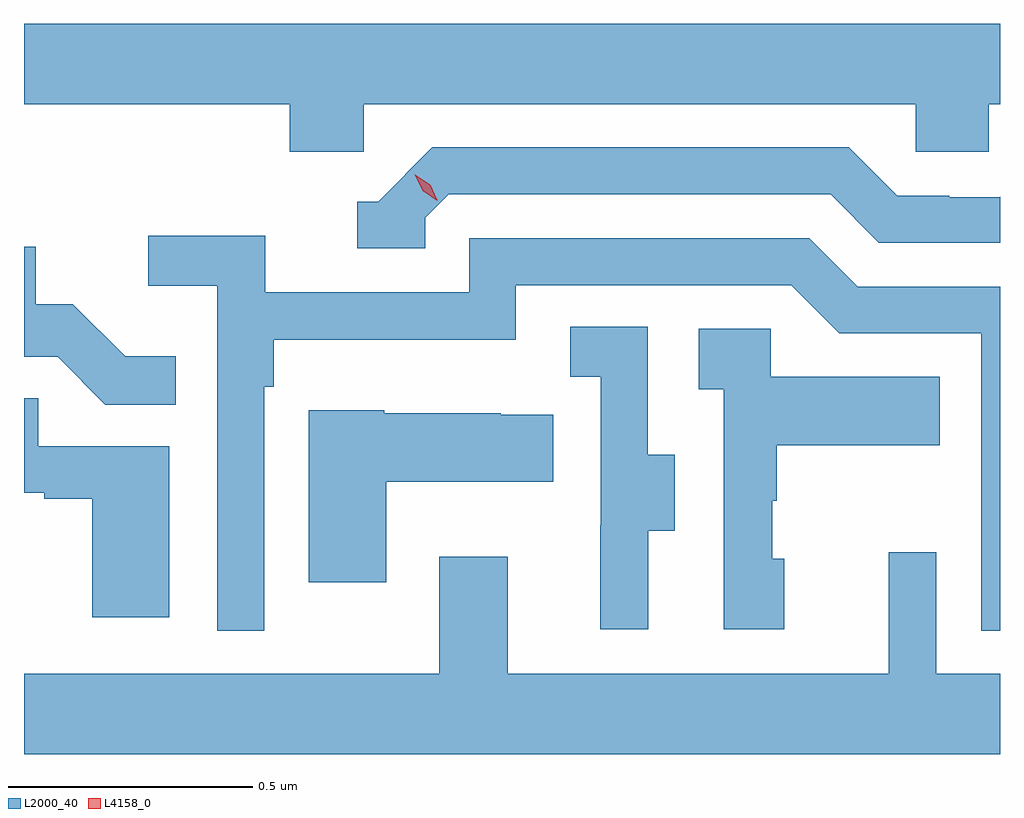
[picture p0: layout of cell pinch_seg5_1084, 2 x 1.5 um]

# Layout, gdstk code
import gdstk
lib = gdstk.Library(unit=1e-6, precision=1e-09)
def P(c, l, *ps):  # polygons
    for p in ps: c.add(gdstk.Polygon(p, *l))
L2000_40 = (2000, 40)
L4158_0 = (4158, 0)

pinch_seg5_1084 = lib.new_cell('pinch_seg5_1084')
P(pinch_seg5_1084, L2000_40, [(849.882,858.092),(851.013,858.092),(851.013,857.994),(851.163,857.994),(851.163,858.092),(851.186,858.092),(851.186,858.256),(849.186,858.256),(849.186,858.092),(849.731,858.092),(849.731,857.994),(849.882,857.994)],
  [(850.008,857.859),(850.056,857.907),(850.839,857.907),(850.938,857.808),(851.186,857.808),(851.186,857.902),(851.185,857.901),(851.082,857.901),(851.082,857.904),(850.975,857.904),(850.876,858.003),(850.023,858.003),(849.912,857.892),(849.869,857.892),(849.869,857.796),(850.008,857.796)],
  [(849.678,857.513),(849.698,857.513),(849.698,857.609),(850.194,857.609),(850.194,857.721),(850.758,857.721),(850.857,857.622),(851.148,857.622),(851.148,857.013),(851.186,857.013),(851.186,857.718),(850.894,857.718),(850.795,857.817),(850.098,857.817),(850.098,857.706),(849.68,857.706),(849.68,857.822),(849.441,857.822),(849.441,857.72),(849.582,857.72),(849.582,857.013),(849.678,857.013)],
  [(849.497,857.575),(849.393,857.575),(849.286,857.682),(849.21,857.682),(849.21,857.799),(849.186,857.799),(849.186,857.574),(849.255,857.574),(849.353,857.476),(849.497,857.476)],
  [(850.465,857.218),(850.519,857.218),(850.519,857.373),(850.464,857.373),(850.464,857.636),(850.305,857.636),(850.305,857.533),(850.368,857.533),(850.368,857.229),(850.367,857.229),(850.367,857.016),(850.465,857.016)],
  [(850.744,857.16),(850.719,857.16),(850.719,857.279),(850.729,857.279),(850.729,857.393),(851.063,857.393),(851.063,857.533),(850.716,857.533),(850.716,857.631),(850.569,857.631),(850.569,857.507),(850.62,857.507),(850.62,857.016),(850.744,857.016)],
  [(849.484,857.391),(849.215,857.391),(849.215,857.489),(849.186,857.489),(849.186,857.295),(849.227,857.295),(849.227,857.283),(849.326,857.283),(849.326,857.04),(849.484,857.04)],
  [(849.928,857.318),(850.271,857.318),(850.271,857.455),(850.163,857.455),(850.163,857.458),(849.924,857.458),(849.924,857.464),(849.77,857.464),(849.77,857.112),(849.928,857.112)],
  [(851.186,856.924),(851.055,856.924),(851.055,857.173),(850.958,857.173),(850.958,856.924),(850.177,856.924),(850.177,857.164),(850.037,857.164),(850.037,856.924),(849.186,856.924),(849.186,856.76),(851.186,856.76)])
P(pinch_seg5_1084, L4158_0, [(850.033,857.894),(850.003,857.914),(849.987,857.947),(849.987,857.947),(849.988,857.947),(850.018,857.927),(850.033,857.895),(850.033,857.894)])

lib.write_gds('pinch_seg5_1084.gds')
